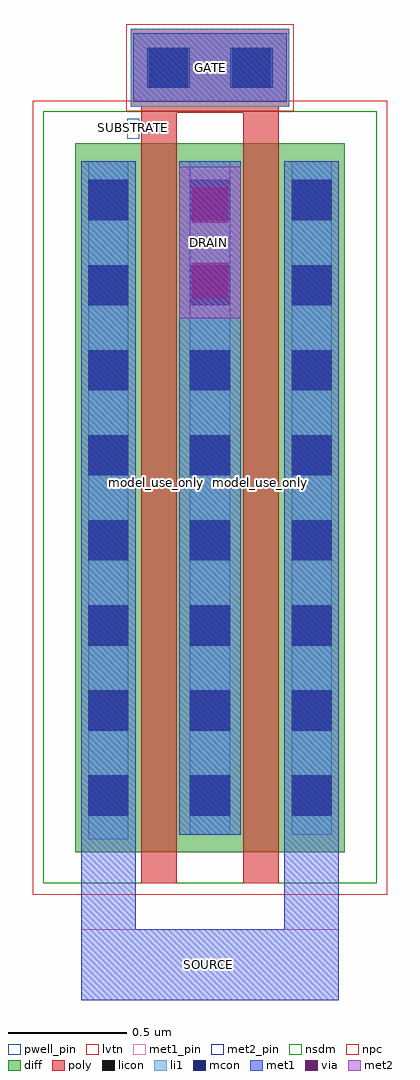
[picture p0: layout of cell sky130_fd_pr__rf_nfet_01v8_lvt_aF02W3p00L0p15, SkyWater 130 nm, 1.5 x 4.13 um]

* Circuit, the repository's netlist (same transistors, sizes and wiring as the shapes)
* Copyright 2020 The SkyWater PDK Authors
*
* Licensed under the Apache License, Version 2.0 (the "License");
* you may not use this file except in compliance with the License.
* You may obtain a copy of the License at
*
*     https://www.apache.org/licenses/LICENSE-2.0
*
* Unless required by applicable law or agreed to in writing, software
* distributed under the License is distributed on an "AS IS" BASIS,
* WITHOUT WARRANTIES OR CONDITIONS OF ANY KIND, either express or implied.
* See the License for the specific language governing permissions and
* limitations under the License.
*
* SPDX-License-Identifier: Apache-2.0


.subckt sky130_fd_pr__rf_nfet_01v8_lvt_aF02W3p00L0p15 DRAIN GATE SOURCE SUBSTRATE
X0 SOURCE GATE DRAIN SUBSTRATE sky130_fd_pr__nfet_01v8_lvt w=3e+06u l=150000u
X1 DRAIN GATE SOURCE SUBSTRATE sky130_fd_pr__nfet_01v8_lvt w=3e+06u l=150000u
.ends

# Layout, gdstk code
import gdstk
lib = gdstk.Library(unit=1e-6, precision=1e-09)
def R(c, l, rs):  # rectangles x0, y0, x1, y1
    for r in rs: c.add(gdstk.rectangle(r[:2], r[2:], *l))
def A(c, l, x, y, w, h, nx, ny, dx, dy):  # array of equal rectangles
    R(c, l, [(x+i*dx, y+j*dy, x+i*dx+w, y+j*dy+h) for i in range(nx) for j in range(ny)])
diff = (65, 20)
poly = (66, 20)
licon = (66, 44)
li1 = (67, 20)
mcon = (67, 44)
met1_pin = (68, 16)
met1 = (68, 20)
via = (68, 44)
met2_pin = (69, 16)
met2 = (69, 20)
nsdm = (93, 44)
npc = (95, 20)
pwell_pin = (122, 16)
lvtn = (125, 44)

sky130_fd_pr__rf_nfet_01 = lib.new_cell('sky130_fd_pr__rf_nfet_01v8_lvt_aF02W3p00L0p15')
A(sky130_fd_pr__rf_nfet_01, diff, 0.18, 0.18, 0.28, 3, 3, 1, 0.43, 0)
R(sky130_fd_pr__rf_nfet_01, diff, [(0.21,0.18,0.46,3.18), (0.46,0.18,0.61,3.18), (0.89,0.18,1.04,3.18), (1.04,0.18,1.32,3.18)])
R(sky130_fd_pr__rf_nfet_01, poly, [(0.46,0.05,0.61,0.18), (0.46,0.05,0.61,3.31), (0.89,0.05,1.04,0.18), (0.89,0.05,1.04,3.31), (0.46,3.18,0.61,3.31), (0.89,3.18,1.04,3.31), (0.46,3.31,1.04,3.665), (0.415,3.335,1.085,3.665)])
A(sky130_fd_pr__rf_nfet_01, licon, 0.235, 0.335, 0.17, 0.17, 3, 8, 0.43, 0.36)
R(sky130_fd_pr__rf_nfet_01, licon, [(0.495,3.415,0.665,3.585), (0.835,3.415,1.005,3.585)])
R(sky130_fd_pr__rf_nfet_01, li1, [(0.235,0.235,0.405,3.105), (0.665,0.255,0.835,3.105), (1.095,0.255,1.265,3.105), (0.415,3.335,1.085,3.665), (0.485,3.415,1.015,3.585)])
A(sky130_fd_pr__rf_nfet_01, mcon, 0.235, 0.335, 0.17, 0.17, 3, 8, 0.43, 0.36)
R(sky130_fd_pr__rf_nfet_01, mcon, [(0.485,3.415,0.655,3.585), (0.845,3.415,1.015,3.585)])
R(sky130_fd_pr__rf_nfet_01, met1_pin, [(0.205,-0.445,1.295,-0.145), (0.425,3.355,1.075,3.645)])
R(sky130_fd_pr__rf_nfet_01, met1, [(0.425,3.355,1.075,3.645)])
R(sky130_fd_pr__rf_nfet_01, via, [(0.675,2.525,0.825,2.675), (0.675,2.845,0.825,2.995)])
R(sky130_fd_pr__rf_nfet_01, met2_pin, [(0.62,2.44,0.88,3.08)])
R(sky130_fd_pr__rf_nfet_01, met2, [(0.62,2.44,0.88,3.08)])
R(sky130_fd_pr__rf_nfet_01, nsdm, [(0.045,0.05,0.59,3.315), (0.21,0.05,0.61,3.315), (0.48,0.05,1.02,3.315), (0.64,0.05,1.04,3.315), (0.91,0.05,1.455,3.315)])
R(sky130_fd_pr__rf_nfet_01, npc, [(0.395,3.315,1.105,3.685)])
R(sky130_fd_pr__rf_nfet_01, pwell_pin, [(0.4,3.2,0.45,3.285)])
R(sky130_fd_pr__rf_nfet_01, lvtn, [(0,0,1.5,3.36)])
sky130_fd_pr__rf_nfet_01.add(gdstk.FlexPath([(0.32,3.105),(0.32,-0.445)], 0.23, ends="flush", simple_path=True, layer=68, datatype=20))  # met1
sky130_fd_pr__rf_nfet_01.add(gdstk.FlexPath([(0.205,-0.295),(1.295,-0.295)], 0.3, ends="flush", simple_path=True, layer=68, datatype=20))  # met1
sky130_fd_pr__rf_nfet_01.add(gdstk.FlexPath([(0.75,3.105),(0.75,0.255)], 0.26, ends="flush", simple_path=True, layer=68, datatype=20))  # met1
sky130_fd_pr__rf_nfet_01.add(gdstk.FlexPath([(1.18,3.105),(1.18,-0.445)], 0.23, ends="flush", simple_path=True, layer=68, datatype=20))  # met1
sky130_fd_pr__rf_nfet_01.add(gdstk.Label('model_use_only', (0.965,1.745), layer=66, texttype=83))
sky130_fd_pr__rf_nfet_01.add(gdstk.Label('model_use_only', (0.525,1.745), layer=66, texttype=83))
sky130_fd_pr__rf_nfet_01.add(gdstk.Label('DRAIN', (0.745,2.76), layer=69, texttype=16))
sky130_fd_pr__rf_nfet_01.add(gdstk.Label('SOURCE', (0.745,-0.295), layer=68, texttype=16))
sky130_fd_pr__rf_nfet_01.add(gdstk.Label('GATE', (0.75,3.5), layer=68, texttype=16))
sky130_fd_pr__rf_nfet_01.add(gdstk.Label('SUBSTRATE', (0.425,3.245), layer=64, texttype=59))

lib.write_gds('sky130_fd_pr__rf_nfet_01v8_lvt_aF02W3p00L0p15.gds')
